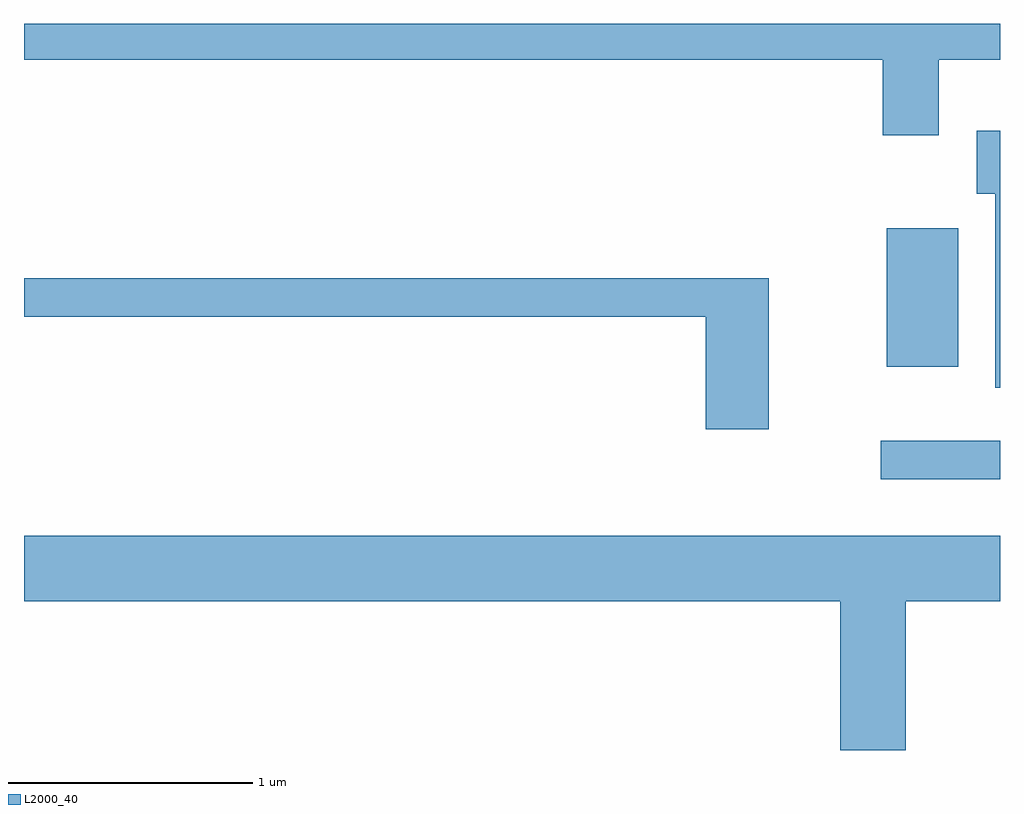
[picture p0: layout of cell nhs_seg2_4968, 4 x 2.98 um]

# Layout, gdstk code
import gdstk
lib = gdstk.Library(unit=1e-6, precision=1e-09)
def R(c, l, rs):  # rectangles x0, y0, x1, y1
    for r in rs: c.add(gdstk.rectangle(r[:2], r[2:], *l))
def P(c, l, *ps):  # polygons
    for p in ps: c.add(gdstk.Polygon(p, *l))
L2000_40 = (2000, 40)

nhs_seg2_4968 = lib.new_cell('nhs_seg2_4968')
R(nhs_seg2_4968, L2000_40, [(335.123,1039.936,335.611,1040.094), (335.146,1040.396,335.439,1040.964)])
P(nhs_seg2_4968, L2000_40, [(335.359,1041.656),(335.611,1041.656),(335.611,1041.802),(331.611,1041.802),(331.611,1041.656),(335.131,1041.656),(335.131,1041.346),(335.359,1041.346)],
  [(335.611,1041.364),(335.516,1041.364),(335.516,1041.106),(335.591,1041.106),(335.591,1040.311),(335.611,1040.311)],
  [(334.664,1040.759),(331.611,1040.759),(331.611,1040.601),(334.406,1040.601),(334.406,1040.141),(334.664,1040.141)],
  [(335.224,1039.436),(335.611,1039.436),(335.611,1039.704),(331.611,1039.704),(331.611,1039.436),(334.956,1039.436),(334.956,1038.826),(335.224,1038.826)])

lib.write_gds('nhs_seg2_4968.gds')
